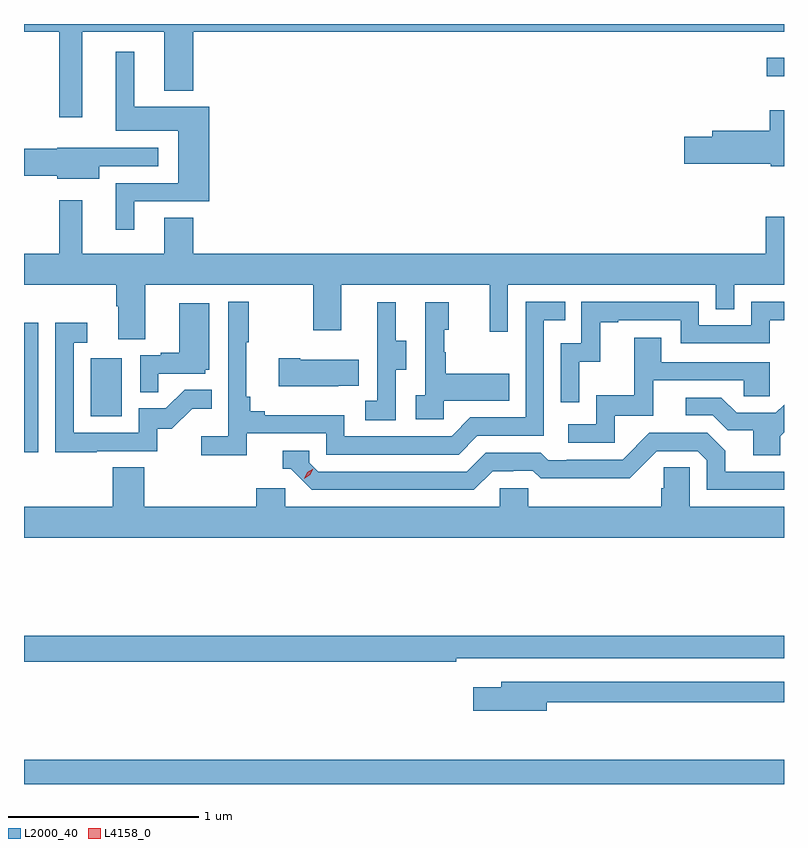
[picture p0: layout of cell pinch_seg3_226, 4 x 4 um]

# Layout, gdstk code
import gdstk
lib = gdstk.Library(unit=1e-6, precision=1e-09)
def R(c, l, rs):  # rectangles x0, y0, x1, y1
    for r in rs: c.add(gdstk.rectangle(r[:2], r[2:], *l))
def P(c, l, *ps):  # polygons
    for p in ps: c.add(gdstk.Polygon(p, *l))
L2000_40 = (2000, 40)
L4158_0 = (4158, 0)

pinch_seg3_226 = lib.new_cell('pinch_seg3_226')
R(pinch_seg3_226, L2000_40, [(924.876,731.589,928.876,731.716), (924.876,733.336,924.951,734.017), (925.226,733.524,925.39,733.831), (928.785,735.315,928.876,735.412)])
P(pinch_seg3_226, L2000_40, [(925.183,735.548),(925.613,735.548),(925.613,735.239),(925.766,735.239),(925.766,735.548),(928.876,735.548),(928.876,735.589),(924.876,735.589),(924.876,735.548),(925.062,735.548),(925.062,735.099),(925.183,735.099)],
  [(925.456,734.655),(925.852,734.655),(925.852,735.154),(925.456,735.154),(925.456,735.442),(925.358,735.442),(925.358,735.026),(925.688,735.026),(925.688,734.751),(925.358,734.751),(925.358,734.505),(925.456,734.505)],
  [(928.876,735.136),(928.802,735.136),(928.802,735.026),(928.499,735.026),(928.499,734.996),(928.35,734.996),(928.35,734.854),(928.806,734.854),(928.806,734.84),(928.876,734.84)],
  [(925.273,734.841),(925.582,734.841),(925.582,734.937),(925.269,734.937),(925.269,734.938),(925.05,734.938),(925.05,734.933),(924.876,734.933),(924.876,734.791),(925.05,734.791),(925.05,734.774),(925.273,734.774)],
  [(925.513,734.216),(926.398,734.216),(926.398,733.977),(926.545,733.977),(926.545,734.216),(927.326,734.216),(927.326,733.968),(927.423,733.968),(927.423,734.216),(928.518,734.216),(928.518,734.089),(928.614,734.089),(928.614,734.216),(928.876,734.216),(928.876,734.575),(928.781,734.575),(928.781,734.38),(925.766,734.38),(925.766,734.57),(925.613,734.57),(925.613,734.38),(925.183,734.38),(925.183,734.662),(925.062,734.662),(925.062,734.38),(924.876,734.38),(924.876,734.216),(925.361,734.216),(925.361,734.104),(925.373,734.104),(925.373,733.93),(925.513,733.93)],
  [(926.048,733.434),(926.466,733.434),(926.466,733.323),(927.163,733.323),(927.262,733.422),(927.612,733.422),(927.612,734.031),(927.725,734.031),(927.725,734.127),(927.516,734.127),(927.516,733.518),(927.225,733.518),(927.126,733.419),(926.562,733.419),(926.562,733.531),(926.143,733.531),(926.143,733.55),(926.066,733.55),(926.066,733.627),(926.047,733.627),(926.047,733.915),(926.059,733.915),(926.059,734.128),(925.95,734.128),(925.95,733.42),(925.809,733.42),(925.809,733.318),(926.048,733.318)],
  [(927.798,733.811),(927.908,733.811),(927.908,734.019),(928.003,734.019),(928.003,734.031),(928.332,734.031),(928.332,733.908),(928.8,733.908),(928.8,734.031),(928.876,734.031),(928.876,734.127),(928.704,734.127),(928.704,734.004),(928.428,734.004),(928.428,734.127),(927.81,734.127),(927.81,733.908),(927.702,733.908),(927.702,733.599),(927.798,733.599)],
  [(927.084,733.607),(927.431,733.607),(927.431,733.747),(927.097,733.747),(927.097,733.862),(927.087,733.862),(927.087,733.98),(927.112,733.98),(927.112,734.125),(926.988,734.125),(926.988,733.634),(926.937,733.634),(926.937,733.509),(927.084,733.509)],
  [(926.832,733.768),(926.887,733.768),(926.887,733.923),(926.833,733.923),(926.833,734.125),(926.735,734.125),(926.735,733.911),(926.736,733.911),(926.736,733.607),(926.673,733.607),(926.673,733.504),(926.832,733.504)],
  [(925.583,733.749),(925.83,733.749),(925.83,733.77),(925.852,733.77),(925.852,734.119),(925.694,734.119),(925.694,733.858),(925.595,733.858),(925.595,733.845),(925.488,733.845),(925.488,733.651),(925.583,733.651)],
  [(925.259,733.341),(925.578,733.341),(925.578,733.458),(925.654,733.458),(925.761,733.565),(925.865,733.565),(925.865,733.664),(925.721,733.664),(925.623,733.566),(925.479,733.566),(925.479,733.437),(925.137,733.437),(925.137,733.911),(925.21,733.911),(925.21,734.017),(925.041,734.017),(925.041,733.336),(925.259,733.336)],
  [(927.984,733.527),(928.189,733.527),(928.189,733.713),(928.663,733.713),(928.663,733.629),(928.8,733.629),(928.8,733.809),(928.231,733.809),(928.231,733.939),(928.087,733.939),(928.087,733.636),(927.888,733.636),(927.888,733.482),(927.741,733.482),(927.741,733.386),(927.984,733.386)],
  [(926.531,733.685),(926.639,733.685),(926.639,733.822),(926.329,733.822),(926.329,733.83),(926.217,733.83),(926.217,733.682),(926.531,733.682)],
  [(928.855,733.42),(928.876,733.441),(928.876,733.585),(928.833,733.542),(928.627,733.542),(928.546,733.623),(928.359,733.623),(928.359,733.53),(928.5,733.53),(928.58,733.45),(928.715,733.45),(928.715,733.318),(928.855,733.318)],
  [(927.343,733.236),(927.45,733.236),(927.45,733.239),(927.553,733.239),(927.595,733.197),(927.828,733.197),(927.828,733.199),(928.064,733.199),(928.206,733.341),(928.422,733.341),(928.47,733.293),(928.47,733.137),(928.876,733.137),(928.876,733.233),(928.567,733.233),(928.567,733.343),(928.473,733.437),(928.167,733.437),(928.026,733.296),(927.733,733.296),(927.733,733.293),(927.634,733.293),(927.595,733.332),(927.306,733.332),(927.207,733.233),(926.424,733.233),(926.376,733.281),(926.376,733.344),(926.237,733.344),(926.237,733.248),(926.28,733.248),(926.391,733.137),(927.244,733.137)],
  [(928.876,733.048),(928.38,733.048),(928.38,733.256),(928.243,733.256),(928.243,733.146),(928.229,733.146),(928.229,733.048),(927.531,733.048),(927.531,733.146),(927.381,733.146),(927.381,733.048),(926.25,733.048),(926.25,733.146),(926.099,733.146),(926.099,733.048),(925.508,733.048),(925.508,733.256),(925.343,733.256),(925.343,733.048),(924.876,733.048),(924.876,732.884),(928.876,732.884)],
  [(927.152,732.252),(928.876,732.252),(928.876,732.368),(924.876,732.368),(924.876,732.232),(927.152,732.232)],
  [(927.628,732.018),(928.876,732.018),(928.876,732.126),(927.389,732.126),(927.389,732.097),(927.24,732.097),(927.24,731.975),(927.628,731.975)])
P(pinch_seg3_226, L4158_0, [(926.351,733.196),(926.351,733.196),(926.367,733.229),(926.398,733.249),(926.398,733.249),(926.398,733.249),(926.382,733.216),(926.351,733.196)])

lib.write_gds('pinch_seg3_226.gds')
